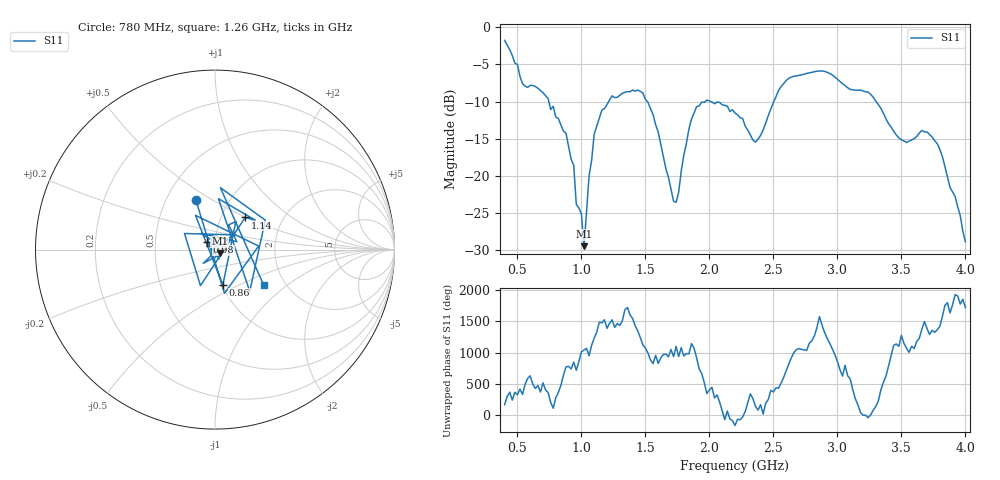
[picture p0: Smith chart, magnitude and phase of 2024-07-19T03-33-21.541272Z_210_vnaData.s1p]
!Created with skrf (http://scikit-rf.org).
# Hz S RI R 50.0
!freq ReS11 ImS11
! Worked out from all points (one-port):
!   181 points, 400 MHz to 4 GHz, reference 50 ohm
!   lowest |S11| = -29.4 dB at 1.02 GHz (marker M1), VSWR 1.07, Z = 52.6 - j2.28 ohm
!   |S11| at or under -10 dB: 745.7 MHz to 1.212 GHz (466.7 MHz wide, 47.7 % of centre); 2.014 GHz to 2.503 GHz (489 MHz wide, 21.7 % of centre); 3.303 GHz to end of sweep (the widest 3 of 4)
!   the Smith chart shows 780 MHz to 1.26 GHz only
!   S11 on the Smith chart (normalised r, x): 780 MHz: 0.70, +0.42; 860 MHz: 1.01, -0.41; 980 MHz: 0.91, +0.08; 1.14 GHz: 1.30, +0.49; 1.26 GHz: 1.56, -0.70
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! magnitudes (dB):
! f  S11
! 400 MHz  -1.8
! 540 MHz  -7.6
! 780 MHz  -10.6
! 860 MHz  -13.9
! 940 MHz  -18.6
! 960 MHz  -23.8
! 980 MHz  -24.3
! 1 GHz  -25.1
! 1.02 GHz  -29.4
! 1.06 GHz  -19.9
! 1.1 GHz  -14.3
! 1.14 GHz  -12.2
! 1.26 GHz  -9.5
! 1.3 GHz  -9.1
! 1.48 GHz  -8.8
! 1.6 GHz  -14.1
! 1.72 GHz  -23.4
! 1.76 GHz  -22.2
! 1.84 GHz  -13.7
! 1.9 GHz  -10.7
! 2.2 GHz  -11.5
! 2.36 GHz  -15.4
! 2.66 GHz  -6.6
! 3.1 GHz  -8.3
! 3.24 GHz  -8.7
! 3.56 GHz  -15.3
! 3.78 GHz  -15.6
! 4 GHz  -28.8
